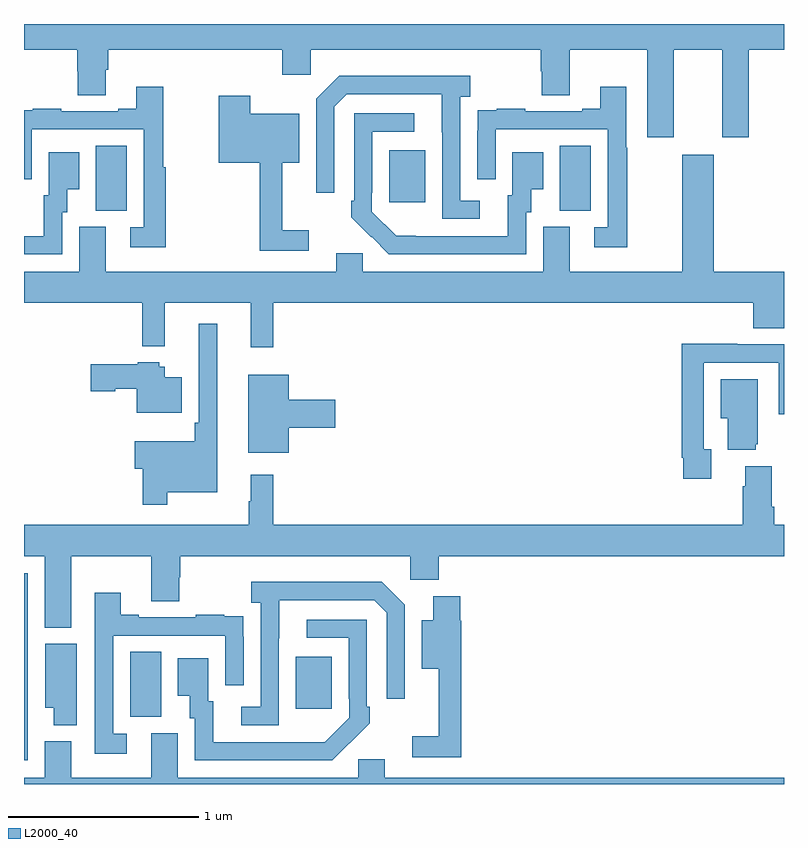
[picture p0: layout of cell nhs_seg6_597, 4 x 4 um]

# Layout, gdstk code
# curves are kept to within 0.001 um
import gdstk
lib = gdstk.Library(unit=1e-6, precision=1e-09)
def R(c, l, rs):  # rectangles x0, y0, x1, y1
    for r in rs: c.add(gdstk.rectangle(r[:2], r[2:], *l))
def P(c, l, *ps):  # polygons
    for p in ps: c.add(gdstk.Polygon(p, *l))
L2000_40 = (2000, 40)

nhs_seg6_597 = lib.new_cell('nhs_seg6_597')
R(nhs_seg6_597, L2000_40, [(149,915.624,149.019,916.608), (149.558,915.853,149.722,916.196), (150.431,915.897,150.619,916.171), (149.378,918.517,149.542,918.86), (151.82,918.517,151.984,918.86), (150.923,918.561,151.111,918.835)])
P(nhs_seg6_597, L2000_40, [(152.419,919.364),(152.675,919.364),(152.675,918.903),(152.815,918.903),(152.815,919.364),(153,919.364),(153,919.5),(149,919.5),(149,919.364),(149.279,919.364),(149.279,919.251),(149.284,919.251),(149.284,919.126),(149.431,919.126),(149.431,919.258),(149.444,919.258),(149.444,919.364),(150.359,919.364),(150.359,919.233),(150.51,919.233),(150.51,919.364),(151.721,919.364),(151.721,919.251),(151.726,919.251),(151.726,919.126),(151.873,919.126),(151.873,919.364),(152.279,919.364),(152.279,918.903),(152.419,918.903)],
  [(151.399,918.57),(151.296,918.57),(151.296,919.118),(151.348,919.118),(151.348,919.228),(150.658,919.228),(150.537,919.107),(150.537,918.612),(150.633,918.612),(150.633,919.065),(150.699,919.131),(151.199,919.131),(151.2,918.474),(151.399,918.474)],
  [(149.747,918.747),(149.732,918.747),(149.732,919.171),(149.591,919.171),(149.591,919.054),(149.495,919.054),(149.495,919.041),(149.195,919.041),(149.195,919.054),(149.047,919.054),(149.047,919.047),(149,919.047),(149,918.684),(149.04,918.684),(149.04,918.945),(149.631,918.945),(149.631,918.429),(149.559,918.429),(149.559,918.324),(149.747,918.324)],
  [(152.174,918.848),(152.169,918.848),(152.169,919.171),(152.033,919.171),(152.033,919.054),(151.937,919.054),(151.937,919.041),(151.637,919.041),(151.637,919.054),(151.489,919.054),(151.489,919.047),(151.387,919.047),(151.387,918.938),(151.386,918.938),(151.386,918.684),(151.482,918.684),(151.482,918.945),(152.073,918.945),(152.073,918.429),(152.001,918.429),(152.001,918.324),(152.174,918.324)],
  [(150.499,918.415),(150.359,918.415),(150.359,918.77),(150.448,918.77),(150.448,919.027),(150.192,919.027),(150.192,919.123),(150.026,919.123),(150.026,918.77),(150.241,918.77),(150.241,918.306),(150.499,918.306)],
  [(151.644,918.51),(151.669,918.51),(151.669,918.629),(151.732,918.629),(151.732,918.826),(151.571,918.826),(151.571,918.6),(151.547,918.6),(151.547,918.384),(150.96,918.385),(150.831,918.513),(150.831,918.613),(150.834,918.613),(150.834,918.933),(151.054,918.933),(151.054,919.029),(150.738,919.029),(150.738,918.571),(150.723,918.571),(150.723,918.483),(150.92,918.288),(151.644,918.288)],
  [(149.202,918.51),(149.227,918.51),(149.227,918.629),(149.29,918.629),(149.29,918.826),(149.129,918.826),(149.129,918.6),(149.105,918.6),(149.105,918.384),(149,918.384),(149,918.288),(149.202,918.288)],
  [(150.311,918.032),(152.837,918.032),(152.837,917.899),(153,917.899),(153,918.196),(152.629,918.196),(152.629,918.811),(152.465,918.811),(152.465,918.196),(151.873,918.196),(151.873,918.432),(151.733,918.432),(151.733,918.196),(150.783,918.196),(150.783,918.294),(150.644,918.294),(150.644,918.196),(149.431,918.196),(149.431,918.432),(149.291,918.432),(149.291,918.196),(149,918.196),(149,918.032),(149.623,918.032),(149.623,917.804),(149.741,917.804),(149.741,918.032),(150.194,918.032),(150.194,917.799),(150.311,917.799)],
  [(149.755,917.036),(150.016,917.036),(150.016,917.923),(149.919,917.923),(149.919,917.401),(149.899,917.401),(149.899,917.305),(149.582,917.305),(149.582,917.158),(149.626,917.158),(149.626,916.971),(149.755,916.971)],
  [(152.617,917.262),(152.577,917.262),(152.577,917.718),(152.973,917.718),(152.973,917.445),(153,917.445),(153,917.814),(152.753,917.814),(152.753,917.816),(152.461,917.816),(152.461,917.218),(152.469,917.218),(152.469,917.106),(152.617,917.106)],
  [(149.83,917.641),(149.74,917.641),(149.74,917.697),(149.712,917.697),(149.712,917.719),(149.598,917.719),(149.598,917.709),(149.352,917.709),(149.352,917.567),(149.481,917.567),(149.481,917.579),(149.594,917.579),(149.594,917.453),(149.83,917.453)],
  [(150.394,917.375),(150.637,917.375),(150.637,917.522),(150.394,917.522),(150.394,917.653),(150.179,917.653),(150.179,917.243),(150.394,917.243)],
  [(152.852,917.289),(152.863,917.289),(152.863,917.629),(152.666,917.629),(152.666,917.426),(152.705,917.426),(152.705,917.258),(152.852,917.258)],
  [(149.248,916.7),(149.669,916.7),(149.669,916.462),(149.817,916.462),(149.817,916.587),(149.822,916.587),(149.822,916.7),(151.032,916.7),(151.032,916.574),(151.184,916.574),(151.184,916.7),(153,916.7),(153,916.864),(152.948,916.864),(152.948,916.96),(152.935,916.96),(152.935,917.173),(152.795,917.173),(152.795,917.066),(152.783,917.066),(152.783,916.864),(150.311,916.864),(150.311,917.128),(150.194,917.128),(150.194,916.988),(150.183,916.988),(150.183,916.864),(149,916.864),(149,916.7),(149.108,916.7),(149.108,916.322),(149.248,916.322)],
  [(150.342,916.267),(150.343,916.467),(150.843,916.467),(150.909,916.401),(150.909,915.948),(151.005,915.948),(151.005,916.443),(150.884,916.564),(150.195,916.564),(150.195,916.454),(150.246,916.454),(150.246,915.906),(150.144,915.906),(150.144,915.81),(150.342,915.81)],
  [(149.542,915.765),(149.469,915.765),(149.469,916.281),(150.06,916.281),(150.06,916.02),(150.156,916.02),(150.156,916.274),(150.155,916.274),(150.155,916.383),(150.053,916.383),(150.053,916.39),(149.905,916.39),(149.905,916.377),(149.605,916.377),(149.605,916.39),(149.509,916.39),(149.509,916.507),(149.373,916.507),(149.373,915.66),(149.542,915.66)],
  [(151.301,916.359),(151.295,916.359),(151.295,916.489),(151.154,916.489),(151.154,916.363),(151.094,916.363),(151.094,916.106),(151.184,916.106),(151.184,915.751),(151.044,915.751),(151.044,915.642),(151.301,915.642)],
  [(150.713,915.715),(150.714,915.714),(150.819,915.819),(150.819,915.907),(150.804,915.907),(150.804,916.365),(150.489,916.365),(150.489,916.269),(150.708,916.269),(150.708,915.949),(150.711,915.949),(150.711,915.849),(150.583,915.721),(149.995,915.72),(149.995,915.936),(149.971,915.936),(149.971,916.162),(149.81,916.162),(149.81,915.965),(149.873,915.965),(149.873,915.846),(149.898,915.846),(149.898,915.624),(150.622,915.624)],
  [(149.278,916.237),(149.111,916.237),(149.111,915.902),(149.156,915.902),(149.156,915.809),(149.278,915.809)],
  [(153,915.532),(150.898,915.532),(150.898,915.63),(150.759,915.63),(150.759,915.532),(149.809,915.532),(149.809,915.768),(149.669,915.768),(149.669,915.532),(149.248,915.532),(149.248,915.724),(149.108,915.724),(149.108,915.532),(149,915.532),(149,915.5),(153,915.5)])

lib.write_gds('nhs_seg6_597.gds')
